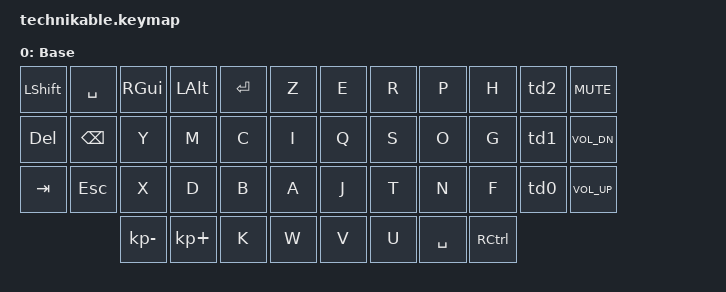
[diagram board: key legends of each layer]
/*
 * Copyright (c) 2022 Pete Johanson
 *
 * SPDX-License-Identifier: MIT
 */

#include <behaviors.dtsi>
#include <dt-bindings/zmk/keys.h>
#include <dt-bindings/zmk/bt.h>
#include <dt-bindings/zmk/outputs.h>

/ {

    behaviors 
    {
        td0: tap_dance_0 
        {
            compatible = "zmk,behavior-tap-dance";
            label = "TAP_DANCE_0";
            #binding-cells = <0>;
            tapping-term-ms = <200>;
            bindings = <&kp KP_ASTERISK>, <&kp KP_ASTERISK>, <&bt BT_SEL 0>;
        };

        td1: tap_dance_1 
        {
            compatible = "zmk,behavior-tap-dance";
            label = "TAP_DANCE_1";
            #binding-cells = <0>;
            tapping-term-ms = <200>;
            bindings = <&kp KP_SLASH>, <&kp KP_SLASH>, <&bt BT_SEL 1>;
        };

        td2: tap_dance_2 
        {
            compatible = "zmk,behavior-tap-dance";
            label = "TAP_DANCE_2";
            #binding-cells = <0>;
            tapping-term-ms = <200>;
            bindings = <&kp KP_EQUAL>, <&kp KP_EQUAL>, <&bt BT_CLR>;
        };
    };

    keymap 
    {
        compatible = "zmk,keymap";

        base_layer 
        {
            label = "Base";
            bindings = <
 &kp LSHFT  &kp SPACE  &kp RGUI      &kp LALT     &kp ENTER  &kp Z  &kp E  &kp R  &kp P      &kp H      &td2  &kp C_MUTE
 &kp DEL    &kp BSPC   &kp Y         &kp M        &kp C      &kp I  &kp Q  &kp S  &kp O      &kp G      &td1  &kp C_VOL_DN
 &kp TAB    &kp ESC    &kp X         &kp D        &kp B      &kp A  &kp J  &kp T  &kp N      &kp F      &td0  &kp C_VOL_UP
                       &kp KP_MINUS  &kp KP_PLUS  &kp K      &kp W  &kp V  &kp U  &kp SPACE  &kp RCTRL

            >;
        };
    };
};
